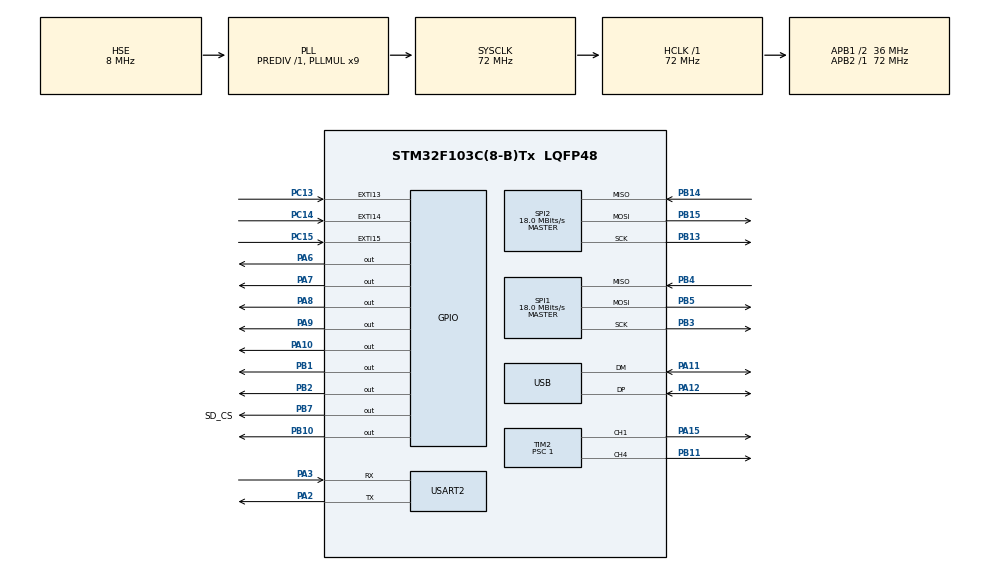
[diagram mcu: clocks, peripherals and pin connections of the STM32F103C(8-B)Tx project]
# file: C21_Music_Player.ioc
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Dma.Request0=SPI1_RX
Dma.Request1=SPI1_TX
Dma.Request2=SPI2_TX
Dma.SPI1_RX.0.Direction=DMA_PERIPH_TO_MEMORY
Dma.SPI1_RX.0.Instance=DMA1_Channel2
Dma.SPI1_RX.0.MemDataAlignment=DMA_MDATAALIGN_BYTE
Dma.SPI1_RX.0.MemInc=DMA_MINC_ENABLE
Dma.SPI1_RX.0.Mode=DMA_NORMAL
Dma.SPI1_RX.0.PeriphDataAlignment=DMA_PDATAALIGN_BYTE
Dma.SPI1_RX.0.PeriphInc=DMA_PINC_DISABLE
Dma.SPI1_RX.0.Priority=DMA_PRIORITY_MEDIUM
Dma.SPI1_TX.1.Direction=DMA_MEMORY_TO_PERIPH
Dma.SPI1_TX.1.Instance=DMA1_Channel3
Dma.SPI1_TX.1.MemDataAlignment=DMA_MDATAALIGN_BYTE
Dma.SPI1_TX.1.MemInc=DMA_MINC_ENABLE
Dma.SPI1_TX.1.Mode=DMA_CIRCULAR
Dma.SPI1_TX.1.PeriphDataAlignment=DMA_PDATAALIGN_BYTE
Dma.SPI1_TX.1.PeriphInc=DMA_PINC_DISABLE
Dma.SPI1_TX.1.Priority=DMA_PRIORITY_MEDIUM
Dma.SPI2_TX.2.Direction=DMA_MEMORY_TO_PERIPH
Dma.SPI2_TX.2.Instance=DMA1_Channel5
Dma.SPI2_TX.2.MemDataAlignment=DMA_MDATAALIGN_BYTE
Dma.SPI2_TX.2.MemInc=DMA_MINC_ENABLE
Dma.SPI2_TX.2.Mode=DMA_NORMAL
Dma.SPI2_TX.2.PeriphDataAlignment=DMA_PDATAALIGN_BYTE
Dma.SPI2_TX.2.PeriphInc=DMA_PINC_DISABLE
Dma.SPI2_TX.2.Priority=DMA_PRIORITY_MEDIUM
FATFS._FS_TINY=1
FATFS._MAX_SS=4096
FATFS._USE_LFN=1
Mcu.Family=STM32F1
Mcu.Name=STM32F103C(8-B)Tx
Mcu.Package=LQFP48
NVIC.DMA1_Channel2_IRQn=true\:0\:0\:false\:false\:true\:false\:true
NVIC.DMA1_Channel3_IRQn=true\:0\:0\:false\:false\:true\:false\:true
NVIC.DMA1_Channel5_IRQn=true\:0\:0\:false\:false\:true\:false\:true
NVIC.EXTI15_10_IRQn=true\:0\:0\:false\:false\:true\:true\:true
NVIC.PriorityGroup=NVIC_PRIORITYGROUP_4
NVIC.TIM1_UP_IRQn=true\:0\:0\:false\:false\:true\:true\:true
PA10.Signal=GPIO_Output
PA11.Mode=Device
PA11.Signal=USB_DM
PA12.Mode=Device
PA12.Signal=USB_DP
PA13.Mode=Serial_Wire
PA13.Signal=SYS_JTMS-SWDIO
PA14.Mode=Serial_Wire
PA14.Signal=SYS_JTCK-SWCLK
PA15.Signal=S_TIM2_CH1_ETR
PA2.Mode=Asynchronous
PA2.Signal=USART2_TX
PA3.Mode=Asynchronous
PA3.Signal=USART2_RX
PA6.Signal=GPIO_Output
PA7.Signal=GPIO_Output
PA8.Signal=GPIO_Output
PA9.Signal=GPIO_Output
PB1.Signal=GPIO_Output
PB10.Signal=GPIO_Output
PB11.Signal=S_TIM2_CH4
PB13.Mode=Full_Duplex_Master
PB13.Signal=SPI2_SCK
PB14.Mode=Full_Duplex_Master
PB14.Signal=SPI2_MISO
PB15.Mode=Full_Duplex_Master
PB15.Signal=SPI2_MOSI
PB2.Signal=GPIO_Output
PB3.Mode=Full_Duplex_Master
PB3.Signal=SPI1_SCK
PB4.Mode=Full_Duplex_Master
PB4.Signal=SPI1_MISO
PB5.Mode=Full_Duplex_Master
PB5.Signal=SPI1_MOSI
PB7.GPIO_Label=SD_CS
PB7.Signal=GPIO_Output
PC13-TAMPER-RTC.Signal=GPXTI13
PC14-OSC32_IN.Signal=GPXTI14
PC15-OSC32_OUT.Signal=GPXTI15
PD0-OSC_IN.Mode=HSE-External-Oscillator
PD0-OSC_IN.Signal=RCC_OSC_IN
PD1-OSC_OUT.Mode=HSE-External-Oscillator
PD1-OSC_OUT.Signal=RCC_OSC_OUT
ProjectManager.HeapSize=0x200
ProjectManager.StackSize=0x400
ProjectManager.TargetToolchain=STM32CubeIDE
RCC.AHBFreq_Value=72000000
RCC.APB1CLKDivider=RCC_HCLK_DIV2
RCC.APB1Freq_Value=36000000
RCC.APB1TimFreq_Value=72000000
RCC.APB2Freq_Value=72000000
RCC.APB2TimFreq_Value=72000000
RCC.HCLKFreq_Value=72000000
RCC.PLLMUL=RCC_PLL_MUL9
RCC.PLLSourceVirtual=RCC_PLLSOURCE_HSE
RCC.SYSCLKFreq_VALUE=72000000
RCC.SYSCLKSource=RCC_SYSCLKSOURCE_PLLCLK
RCC.USBFreq_Value=48000000
RCC.USBPrescaler=RCC_USBCLKSOURCE_PLL_DIV1_5
SH.S_TIM2_CH1_ETR.0=TIM2_CH1,PWM Generation1 CH1
SH.S_TIM2_CH4.0=TIM2_CH4,PWM Generation4 CH4
SPI1.BaudRatePrescaler=SPI_BAUDRATEPRESCALER_4
SPI1.CalculateBaudRate=18.0 MBits/s
SPI1.Direction=SPI_DIRECTION_2LINES
SPI1.Mode=SPI_MODE_MASTER
SPI1.VirtualType=VM_MASTER
SPI2.BaudRatePrescaler=SPI_BAUDRATEPRESCALER_2
SPI2.CalculateBaudRate=18.0 MBits/s
SPI2.DataSize=SPI_DATASIZE_8BIT
SPI2.Direction=SPI_DIRECTION_2LINES
SPI2.Mode=SPI_MODE_MASTER
SPI2.VirtualType=VM_MASTER
TIM1.Period=10000
TIM1.Prescaler=10000
TIM2.AutoReloadPreload=TIM_AUTORELOAD_PRELOAD_DISABLE
TIM2.Channel-PWM\ Generation1\ CH1=TIM_CHANNEL_1
TIM2.Channel-PWM\ Generation4\ CH4=TIM_CHANNEL_4
TIM2.Period=255
TIM2.Prescaler=1
USART2.VirtualMode=VM_ASYNC
VP_FATFS_VS_Generic.Mode=User_defined
VP_TIM1_VS_ClockSourceINT.Mode=Internal
VP_TIM2_VS_ClockSourceINT.Mode=Internal
board=custom

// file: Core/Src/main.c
/* USER CODE BEGIN Header */
/**
  ******************************************************************************
  * @file           : main.c
  * @brief          : Main program body
  ******************************************************************************
  * @attention
  *
  * <h2><center>&copy; Copyright (c) 2020 STMicroelectronics.
  * All rights reserved.</center></h2>
  *
  * This software component is licensed by ST under Ultimate Liberty license
  * SLA0044, the "License"; You may not use this file except in compliance with
  * the License. You may obtain a copy of the License at:
  *                             www.st.com/SLA0044
  *
  ******************************************************************************
  */
/* USER CODE END Header */
#include "main.h"
#include "fatfs.h"

/* USER CODE BEGIN Includes */
#include "st7735.h"
#include "image_capture.h"
/* USER CODE END Includes */

SPI_HandleTypeDef hspi1;
SPI_HandleTypeDef hspi2;
DMA_HandleTypeDef hdma_spi1_rx;
DMA_HandleTypeDef hdma_spi1_tx;
DMA_HandleTypeDef hdma_spi2_tx;

TIM_HandleTypeDef htim1;
TIM_HandleTypeDef htim2;

UART_HandleTypeDef huart2;

PCD_HandleTypeDef hpcd_USB_FS;

void SystemClock_Config(void);
static void MX_GPIO_Init(void);
static void MX_DMA_Init(void);
static void MX_SPI1_Init(void);
static void MX_USART2_UART_Init(void);
static void MX_SPI2_Init(void);
static void MX_USB_PCD_Init(void);
static void MX_TIM2_Init(void);
static void MX_TIM1_Init(void);
/* USER CODE BEGIN PFP */
uint16_t sin_table[256] = {
		32768,33572,34375,35178,35979,36779,37575,38369,
		39160,39947,40729,41507,42279,43046,43807,44560,
		45307,46046,46777,47500,48214,48919,49613,50298,
		50972,51635,52287,52927,53555,54170,54773,55362,
		55938,56499,57047,57579,58097,58600,59087,59558,
		60013,60451,60873,61278,61666,62036,62389,62724,
		63041,63339,63620,63881,64124,64348,64553,64739,
		64905,65053,65180,65289,65377,65446,65496,65525,
		65535,65525,65496,65446,65377,65289,65180,65053,
		64905,64739,64553,64348,64124,63881,63620,63339,
		63041,62724,62389,62036,61666,61278,60873,60451,
		60013,59558,59087,58600,58097,57579,57047,56499,
		55938,55362,54773,54170,53555,52927,52287,51635,
		50972,50298,49613,48919,48214,47500,46777,46046,
		45307,44560,43807,43046,42279,41507,40729,39947,
		39160,38369,37575,36779,35979,35178,34375,33572,
		32768,31963,31160,30357,29556,28756,27960,27166,
		26375,25588,24806,24028,23256,22489,21728,20975,
		20228,19489,18758,18035,17321,16616,15922,15237,
		14563,13900,13248,12608,11980,11365,10762,10173,
		9597,9036,8488,7956,7438,6935,6448,5977,
		5522,5084,4662,4257,3869,3499,3146,2811,
		2494,2196,1915,1654,1411,1187,982,796,
		630,482,355,246,158,89,39,10,
		0,10,39,89,158,246,355,482,
		630,796,982,1187,1411,1654,1915,2196,
		2494,2811,3146,3499,3869,4257,4662,5084,
		5522,5977,6448,6935,7438,7956,8488,9036,
		9597,10173,10762,11365,11980,12608,13248,13900,
		14563,15237,15922,16616,17321,18035,18758,19489,
		20228,20975,21728,22489,23256,24028,24806,25588,
		26375,27166,27960,28756,29556,30357,31160,31963
};
/* USER CODE END PFP */

/* USER CODE BEGIN 0 */
FATFS fs ;
FATFS  * pfs ;
FIL fil ;
FRESULT fres ;
DWORD fre_clust ;
uint32_t total , free ;
char buffer [ 100 ] ;
uint32_t counter = 0;

volatile uint8_t notes = 0;
volatile uint8_t playing_notes = 0;

uint8_t play_music(uint8_t playing){
	   FIL file;
	   FRESULT res = f_open(&file, "e1.wav", FA_READ);
	   uint32_t bytesRead;
	   if(res != FR_OK) {
	 //      UART_Printf("f_open() failed, res = %d\r\n", res);
	       return 1;
	   }

	   uint8_t header[44];
	   res = f_read(&file, header, sizeof(header), &bytesRead);
	      if(res != FR_OK) {
	//          UART_Printf("f_read() failed, res = %d\r\n", res);
	          f_close(&file);
	          return 2;
	      }
	      while(f_eof (&file) == 0){
	      uint8_t data[1];
	      res = f_read(&file, data, sizeof(data), &bytesRead);
	            if(res != FR_OK) {
	      //          UART_Printf("f_read() failed, res = %d\r\n", res);
	                f_close(&file);
	                return 2;
	            }

	   //         uint16_t pwm = (uint16_t) sound;

	            __HAL_TIM_SET_COMPARE(&htim2, TIM_CHANNEL_4, 255 - data[0]);
	            __HAL_TIM_SET_COMPARE(&htim2, TIM_CHANNEL_1, 255 - data[0]);
	            for(int a = 0; a <400; a++){
	                asm("NOP");
	            }

	      }
	         res = f_close(&file);
	     return 0;
}
/* USER CODE END 0 */

int main(void)
{

  /* MCU Configuration--------------------------------------------------------*/

  /* Reset of all peripherals, Initializes the Flash interface and the Systick. */
  HAL_Init();

  /* Configure the system clock */
  SystemClock_Config();

  /* Initialize all configured peripherals */
  MX_GPIO_Init();
  MX_DMA_Init();
  MX_SPI1_Init();
  MX_FATFS_Init();
  MX_USART2_UART_Init();
  MX_SPI2_Init();
  MX_USB_PCD_Init();
  MX_TIM2_Init();
  MX_TIM1_Init();
  /* USER CODE BEGIN 2 */
  HAL_TIM_Base_Start_IT(&htim1);
  HAL_TIM_PWM_Start(&htim2,TIM_CHANNEL_1);
  __HAL_TIM_SET_COMPARE(&htim2, TIM_CHANNEL_1, 10000);

  HAL_TIM_PWM_Start(&htim2,TIM_CHANNEL_4);
  __HAL_TIM_SET_COMPARE(&htim2, TIM_CHANNEL_4, 10000);
//
  fres = f_mount ( &fs ,  "" ,   1);
   while ( fres !=  FR_OK ){
 	  fres = f_mount ( &fs ,  "" ,   1);
 	  HAL_Delay(100);
   }

   ST7735_Init();
//   ST7735_FillScreen(0xFFE0);

  /* USER CODE END 2 */

  /* Infinite loop */
  while (1)
  {

    /* USER CODE BEGIN 3 */
//	  play_music();

	   FIL file;
	   FRESULT res;
	   if(notes == 1){
	     res = f_open(&file, "e1.wav", FA_READ);
	     playing_notes = 1;
	   }
	   if(notes == 2){
	  			  res = f_open(&file, "f1.wav", FA_READ);
	  			  playing_notes = 2;
	  		   }
	   uint32_t bytesRead;
	   if(notes != 0){
	   if(res != FR_OK) {
	 //      UART_Printf("f_open() failed, res = %d\r\n", res);
	       return 1;
	   }

	   uint8_t header[44];
	   res = f_read(&file, header, sizeof(header), &bytesRead);
	      if(res != FR_OK) {
	//          UART_Printf("f_read() failed, res = %d\r\n", res);
	          f_close(&file);
	          return 2;
	      }

	      while(f_eof (&file) == 0){
	    	  if(playing_notes == 0){
	    		  break;
	    	  }
	      uint8_t data[1];
	      res = f_read(&file, data, sizeof(data), &bytesRead);
	            if(res != FR_OK) {
	      //          UART_Printf("f_read() failed, res = %d\r\n", res);
	                f_close(&file);
	                return 2;
	            }

	   //         uint16_t pwm = (uint16_t) sound;

	            __HAL_TIM_SET_COMPARE(&htim2, TIM_CHANNEL_4, 255 - data[0]);
	            __HAL_TIM_SET_COMPARE(&htim2, TIM_CHANNEL_1, 255 - data[0]);
	            for(int a = 0; a <400; a++){
	                asm("NOP");
	            }

	      }
	      notes = 0;
	      playing_notes = 0;
	      f_close(&file);
	   }
  }

  }

  /* USER CODE END 3 */

void SystemClock_Config(void)
{
  RCC_OscInitTypeDef RCC_OscInitStruct = {0};
  RCC_ClkInitTypeDef RCC_ClkInitStruct = {0};
  RCC_PeriphCLKInitTypeDef PeriphClkInit = {0};

  /** Initializes the RCC Oscillators according to the specified parameters
  * in the RCC_OscInitTypeDef structure.
  */
  RCC_OscInitStruct.OscillatorType = RCC_OSCILLATORTYPE_HSE;
  RCC_OscInitStruct.HSEState = RCC_HSE_ON;
  RCC_OscInitStruct.HSEPredivValue = RCC_HSE_PREDIV_DIV1;
  RCC_OscInitStruct.HSIState = RCC_HSI_ON;
  RCC_OscInitStruct.PLL.PLLState = RCC_PLL_ON;
  RCC_OscInitStruct.PLL.PLLSource = RCC_PLLSOURCE_HSE;
  RCC_OscInitStruct.PLL.PLLMUL = RCC_PLL_MUL9;
  if (HAL_RCC_OscConfig(&RCC_OscInitStruct) != HAL_OK)
  {
    Error_Handler();
  }
  /** Initializes the CPU, AHB and APB buses clocks
  */
  RCC_ClkInitStruct.ClockType = RCC_CLOCKTYPE_HCLK|RCC_CLOCKTYPE_SYSCLK
                              |RCC_CLOCKTYPE_PCLK1|RCC_CLOCKTYPE_PCLK2;
  RCC_ClkInitStruct.SYSCLKSource = RCC_SYSCLKSOURCE_PLLCLK;
  RCC_ClkInitStruct.AHBCLKDivider = RCC_SYSCLK_DIV1;
  RCC_ClkInitStruct.APB1CLKDivider = RCC_HCLK_DIV2;
  RCC_ClkInitStruct.APB2CLKDivider = RCC_HCLK_DIV1;

  if (HAL_RCC_ClockConfig(&RCC_ClkInitStruct, FLASH_LATENCY_2) != HAL_OK)
  {
    Error_Handler();
  }
  PeriphClkInit.PeriphClockSelection = RCC_PERIPHCLK_USB;
  PeriphClkInit.UsbClockSelection = RCC_USBCLKSOURCE_PLL_DIV1_5;
  if (HAL_RCCEx_PeriphCLKConfig(&PeriphClkInit) != HAL_OK)
  {
    Error_Handler();
  }
}

static void MX_SPI1_Init(void)
{

  /* SPI1 parameter configuration*/
  hspi1.Instance = SPI1;
  hspi1.Init.Mode = SPI_MODE_MASTER;
  hspi1.Init.Direction = SPI_DIRECTION_2LINES;
  hspi1.Init.DataSize = SPI_DATASIZE_8BIT;
  hspi1.Init.CLKPolarity = SPI_POLARITY_LOW;
  hspi1.Init.CLKPhase = SPI_PHASE_1EDGE;
  hspi1.Init.NSS = SPI_NSS_SOFT;
  hspi1.Init.BaudRatePrescaler = SPI_BAUDRATEPRESCALER_4;
  hspi1.Init.FirstBit = SPI_FIRSTBIT_MSB;
  hspi1.Init.TIMode = SPI_TIMODE_DISABLE;
  hspi1.Init.CRCCalculation = SPI_CRCCALCULATION_DISABLE;
  hspi1.Init.CRCPolynomial = 10;
  if (HAL_SPI_Init(&hspi1) != HAL_OK)
  {
    Error_Handler();
  }

}

static void MX_SPI2_Init(void)
{

  /* SPI2 parameter configuration*/
  hspi2.Instance = SPI2;
  hspi2.Init.Mode = SPI_MODE_MASTER;
  hspi2.Init.Direction = SPI_DIRECTION_2LINES;
  hspi2.Init.DataSize = SPI_DATASIZE_8BIT;
  hspi2.Init.CLKPolarity = SPI_POLARITY_LOW;
  hspi2.Init.CLKPhase = SPI_PHASE_1EDGE;
  hspi2.Init.NSS = SPI_NSS_SOFT;
  hspi2.Init.BaudRatePrescaler = SPI_BAUDRATEPRESCALER_2;
  hspi2.Init.FirstBit = SPI_FIRSTBIT_MSB;
  hspi2.Init.TIMode = SPI_TIMODE_DISABLE;
  hspi2.Init.CRCCalculation = SPI_CRCCALCULATION_DISABLE;
  hspi2.Init.CRCPolynomial = 10;
  if (HAL_SPI_Init(&hspi2) != HAL_OK)
  {
    Error_Handler();
  }

}

static void MX_TIM1_Init(void)
{

  TIM_ClockConfigTypeDef sClockSourceConfig = {0};
  TIM_MasterConfigTypeDef sMasterConfig = {0};

  htim1.Instance = TIM1;
  htim1.Init.Prescaler = 10000;
  htim1.Init.CounterMode = TIM_COUNTERMODE_UP;
  htim1.Init.Period = 10000;
  htim1.Init.ClockDivision = TIM_CLOCKDIVISION_DIV1;
  htim1.Init.RepetitionCounter = 0;
  htim1.Init.AutoReloadPreload = TIM_AUTORELOAD_PRELOAD_DISABLE;
  if (HAL_TIM_Base_Init(&htim1) != HAL_OK)
  {
    Error_Handler();
  }
  sClockSourceConfig.ClockSource = TIM_CLOCKSOURCE_INTERNAL;
  if (HAL_TIM_ConfigClockSource(&htim1, &sClockSourceConfig) != HAL_OK)
  {
    Error_Handler();
  }
  sMasterConfig.MasterOutputTrigger = TIM_TRGO_RESET;
  sMasterConfig.MasterSlaveMode = TIM_MASTERSLAVEMODE_DISABLE;
  if (HAL_TIMEx_MasterConfigSynchronization(&htim1, &sMasterConfig) != HAL_OK)
  {
    Error_Handler();
  }

}

static void MX_TIM2_Init(void)
{

  TIM_ClockConfigTypeDef sClockSourceConfig = {0};
  TIM_MasterConfigTypeDef sMasterConfig = {0};
  TIM_OC_InitTypeDef sConfigOC = {0};

  htim2.Instance = TIM2;
  htim2.Init.Prescaler = 1;
  htim2.Init.CounterMode = TIM_COUNTERMODE_UP;
  htim2.Init.Period = 255;
  htim2.Init.ClockDivision = TIM_CLOCKDIVISION_DIV1;
  htim2.Init.AutoReloadPreload = TIM_AUTORELOAD_PRELOAD_DISABLE;
  if (HAL_TIM_Base_Init(&htim2) != HAL_OK)
  {
    Error_Handler();
  }
  sClockSourceConfig.ClockSource = TIM_CLOCKSOURCE_INTERNAL;
  if (HAL_TIM_ConfigClockSource(&htim2, &sClockSourceConfig) != HAL_OK)
  {
    Error_Handler();
  }
  if (HAL_TIM_PWM_Init(&htim2) != HAL_OK)
  {
    Error_Handler();
  }
  sMasterConfig.MasterOutputTrigger = TIM_TRGO_RESET;
  sMasterConfig.MasterSlaveMode = TIM_MASTERSLAVEMODE_DISABLE;
  if (HAL_TIMEx_MasterConfigSynchronization(&htim2, &sMasterConfig) != HAL_OK)
  {
    Error_Handler();
  }
  sConfigOC.OCMode = TIM_OCMODE_PWM1;
  sConfigOC.Pulse = 0;
  sConfigOC.OCPolarity = TIM_OCPOLARITY_HIGH;
  sConfigOC.OCFastMode = TIM_OCFAST_DISABLE;
  if (HAL_TIM_PWM_ConfigChannel(&htim2, &sConfigOC, TIM_CHANNEL_1) != HAL_OK)
  {
    Error_Handler();
  }
  if (HAL_TIM_PWM_ConfigChannel(&htim2, &sConfigOC, TIM_CHANNEL_4) != HAL_OK)
  {
    Error_Handler();
  }
  HAL_TIM_MspPostInit(&htim2);

}

static void MX_USART2_UART_Init(void)
{

  huart2.Instance = USART2;
  huart2.Init.BaudRate = 115200;
  huart2.Init.WordLength = UART_WORDLENGTH_8B;
  huart2.Init.StopBits = UART_STOPBITS_1;
  huart2.Init.Parity = UART_PARITY_NONE;
  huart2.Init.Mode = UART_MODE_TX_RX;
  huart2.Init.HwFlowCtl = UART_HWCONTROL_NONE;
  huart2.Init.OverSampling = UART_OVERSAMPLING_16;
  if (HAL_UART_Init(&huart2) != HAL_OK)
  {
    Error_Handler();
  }

}

static void MX_USB_PCD_Init(void)
{

  hpcd_USB_FS.Instance = USB;
  hpcd_USB_FS.Init.dev_endpoints = 8;
  hpcd_USB_FS.Init.speed = PCD_SPEED_FULL;
  hpcd_USB_FS.Init.low_power_enable = DISABLE;
  hpcd_USB_FS.Init.lpm_enable = DISABLE;
  hpcd_USB_FS.Init.battery_charging_enable = DISABLE;
  if (HAL_PCD_Init(&hpcd_USB_FS) != HAL_OK)
  {
    Error_Handler();
  }

}

static void MX_DMA_Init(void)
{

  /* DMA controller clock enable */
  __HAL_RCC_DMA1_CLK_ENABLE();

  /* DMA interrupt init */
  /* DMA1_Channel2_IRQn interrupt configuration */
  HAL_NVIC_SetPriority(DMA1_Channel2_IRQn, 0, 0);
  HAL_NVIC_EnableIRQ(DMA1_Channel2_IRQn);
  /* DMA1_Channel3_IRQn interrupt configuration */
  HAL_NVIC_SetPriority(DMA1_Channel3_IRQn, 0, 0);
  HAL_NVIC_EnableIRQ(DMA1_Channel3_IRQn);
  /* DMA1_Channel5_IRQn interrupt configuration */
  HAL_NVIC_SetPriority(DMA1_Channel5_IRQn, 0, 0);
  HAL_NVIC_EnableIRQ(DMA1_Channel5_IRQn);

}

static void MX_GPIO_Init(void)
{
  GPIO_InitTypeDef GPIO_InitStruct = {0};

  /* GPIO Ports Clock Enable */
  __HAL_RCC_GPIOC_CLK_ENABLE();
  __HAL_RCC_GPIOD_CLK_ENABLE();
  __HAL_RCC_GPIOA_CLK_ENABLE();
  __HAL_RCC_GPIOB_CLK_ENABLE();

  /*Configure GPIO pin Output Level */
  HAL_GPIO_WritePin(GPIOA, GPIO_PIN_6|GPIO_PIN_7|GPIO_PIN_8|GPIO_PIN_9
                          |GPIO_PIN_10, GPIO_PIN_RESET);

  /*Configure GPIO pin Output Level */
  HAL_GPIO_WritePin(GPIOB, GPIO_PIN_1|GPIO_PIN_2|GPIO_PIN_10|SD_CS_Pin, GPIO_PIN_RESET);

  /*Configure GPIO pins : PC13 PC14 PC15 */
  GPIO_InitStruct.Pin = GPIO_PIN_13|GPIO_PIN_14|GPIO_PIN_15;
  GPIO_InitStruct.Mode = GPIO_MODE_IT_RISING;
  GPIO_InitStruct.Pull = GPIO_NOPULL;
  HAL_GPIO_Init(GPIOC, &GPIO_InitStruct);

  /*Configure GPIO pins : PA6 PA7 PA8 PA9
                           PA10 */
  GPIO_InitStruct.Pin = GPIO_PIN_6|GPIO_PIN_7|GPIO_PIN_8|GPIO_PIN_9
                          |GPIO_PIN_10;
  GPIO_InitStruct.Mode = GPIO_MODE_OUTPUT_PP;
  GPIO_InitStruct.Pull = GPIO_NOPULL;
  GPIO_InitStruct.Speed = GPIO_SPEED_FREQ_LOW;
  HAL_GPIO_Init(GPIOA, &GPIO_InitStruct);

  /*Configure GPIO pins : PB1 PB2 PB10 SD_CS_Pin */
  GPIO_InitStruct.Pin = GPIO_PIN_1|GPIO_PIN_2|GPIO_PIN_10|SD_CS_Pin;
  GPIO_InitStruct.Mode = GPIO_MODE_OUTPUT_PP;
  GPIO_InitStruct.Pull = GPIO_NOPULL;
  GPIO_InitStruct.Speed = GPIO_SPEED_FREQ_LOW;
  HAL_GPIO_Init(GPIOB, &GPIO_InitStruct);

  /* EXTI interrupt init*/
  HAL_NVIC_SetPriority(EXTI15_10_IRQn, 0, 0);
  HAL_NVIC_EnableIRQ(EXTI15_10_IRQn);

}

/* USER CODE BEGIN 4 */

void HAL_GPIO_EXTI_Callback(uint16_t GPIO_Pin)
{
	  if ( GPIO_Pin == GPIO_PIN_13)
	      {
	          // Write your code here
//	      	HAL_TIM_Base_Start_IT(&htim4);

                notes = 1;
                if(playing_notes != 0){
                	playing_notes = 0;
                }

	      }
	      if ( GPIO_Pin == GPIO_PIN_14)
	          {
	              // Write your code here

//	      	HAL_TIM_Base_Start_IT(&htim4);

	    	  notes = 1;
	    	    if(playing_notes != 0){
	    	           playing_notes = 0;
	    	        }
	  //   	 HAL_GPIO_TogglePin(GPIOA, GPIO_PIN_4);
	          }
	      if ( GPIO_Pin == GPIO_PIN_15)
	           {
	               // Write your code here

//	       	HAL_TIM_Base_Start_IT(&htim4);

	    	  notes = 2;
	    	    if(playing_notes != 0){
	    	                	playing_notes = 0;
	    	                }
	   //   	 HAL_GPIO_TogglePin(GPIOA, GPIO_PIN_4);
	           }

}

/* USER CODE END 4 */

void Error_Handler(void)
{
}

/************************ (C) COPYRIGHT STMicroelectronics *****END OF FILE****/
